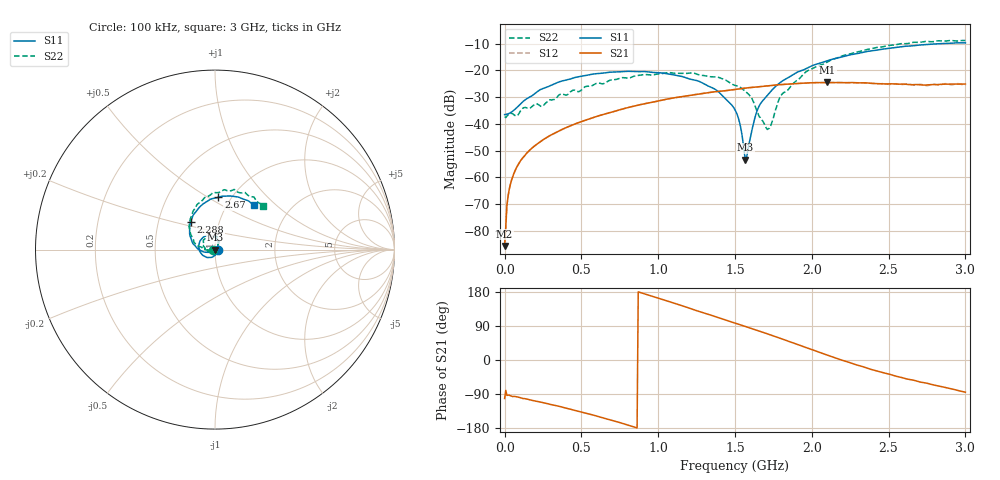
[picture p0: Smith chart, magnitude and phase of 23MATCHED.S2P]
!Agilent Technologies,E5071C,MY46107260,A.09.30
!Date: Mon Jan 01 00:40:03 2001
!Data & Calibration Information:
!Freq	S11:SOLT2(ON)	S21:SOLT2(ON)	S12:SOLT2(ON)	S22:SOLT2(ON)
# Hz S dB R 50
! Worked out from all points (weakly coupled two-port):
!   401 points, 100 kHz to 3 GHz, reference 50 ohm
!   highest |S21| = -24.50 dB at 2.1 GHz (marker M1); lowest = -85.7 dB at 100 kHz (marker M2)
!   lowest |S11| = -53.5 dB at 1.568 GHz (marker M3), VSWR 1.00, Z = 50.2 - j0.0904 ohm
!   |S11| at or under -10 dB: start of sweep to 2.822 GHz
!   |S22| runs from -42.1 to -8.8 dB; largest |S21 - S12| = 0.0019
!   S11 on the Smith chart (normalised r, x): 100 kHz: 1.03, -0.00; 2.288 GHz: 0.73, +0.23; 2.67 GHz: 0.87, +0.56; 3 GHz: 1.33, +0.73
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100000  -36.54 -0.3  -85.74 -101.5  -85.84 -153.5  -37.29 -179.4
3.0099e7  -36.08 -25.2  -64.58 -92.6  -64.68 -92.6  -36.30 -177.2
4.50985e7  -35.58 -36.8  -61.13 -95.1  -61.09 -95.3  -36.11 -170.1
1.125962e8  -32.05 -73.9  -53.16 -100.6  -53.15 -100.8  -34.48 -170.6
2.625912e8  -26.52 -114.0  -45.53 -113.8  -45.52 -113.9  -32.51 -160.1
5.025832e8  -22.17 -160.3  -39.10 -137.5  -39.11 -137.5  -27.20 -177.8
7.575748e8  -20.48 157.1  -34.61 -166.1  -34.61 -166.0  -22.79 158.8
1.005066e9  -20.84 119.1  -31.38 162.6  -31.41 162.7  -21.29 127.5
1.357555e9  -26.64 67.6  -28.07 116.5  -28.06 116.4  -22.42 81.4
1.50005e9  -34.75 47.3  -27.14 97.4  -27.13 97.8  -25.58 63.1
1.530049e9  -39.56 45.2  -26.88 93.5  -26.87 93.7  -26.20 60.2
1.567548e9  -53.46 -25.1  -26.59 88.4  -26.57 88.5  -27.83 59.6
1.582547e9  -50.19 -90.6  -26.50 86.2  -26.49 86.3  -28.59 59.8
1.650045e9  -34.24 -146.9  -26.14 77.3  -26.15 77.3  -36.19 58.4
1.717543e9  -28.86 -155.6  -25.76 68.1  -25.78 68.4  -41.82 125.4
1.80754e9  -23.99 -167.8  -25.24 55.5  -25.29 55.4  -28.78 -174.0
2.002533e9  -18.20 166.1  -24.60 27.2  -24.62 27.1  -19.33 166.0
2.10003e9  -16.38 153.8  -24.50 13.1  -24.54 13.2  -16.86 151.4
2.287524e9  -13.77 131.4  -24.62 -12.4  -24.64 -11.9  -13.18 129.0
2.505016e9  -11.68 105.7  -25.02 -37.5  -25.23 -37.8  -10.60 101.4
2.670011e9  -10.67 86.3  -25.31 -54.0  -25.52 -54.5  -9.43 81.1
3e9  -9.68 48.5  -25.07 -84.9  -25.34 -84.3  -8.84 42.4
